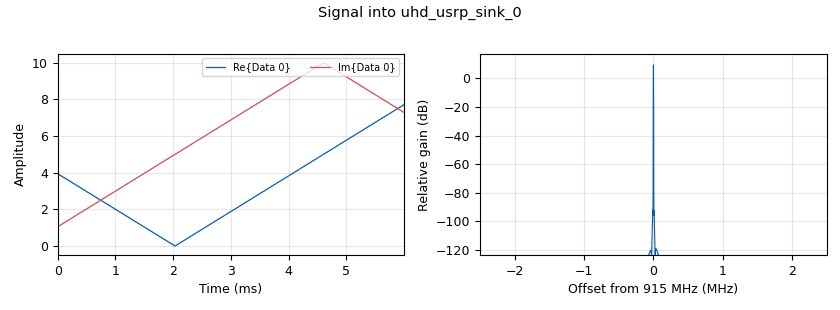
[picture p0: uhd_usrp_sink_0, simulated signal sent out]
options:
  parameters:
    generate_options: no_gui
    id: transmitter
    output_language: python
    title: Not titled yet
  states: {}

blocks:
- name: samp_rate
  id: variable
  parameters:
    value: '5000000'
  states: {}
- name: analog_sig_source_x_0
  id: analog_sig_source_x
  parameters:
    amp: '10'
    freq: '915000000'
    offset: '0'
    phase: '0'
    samp_rate: samp_rate
    type: complex
    waveform: analog.GR_TRI_WAVE
  states: {}
- name: uhd_usrp_sink_0
  id: uhd_usrp_sink
  parameters:
    ant0: '"TX/RX"'
    bw0: '1000000'
    center_freq0: '915000000'
    gain0: '40'
    samp_rate: samp_rate
    sync: none
    type: fc32
  states: {}

connections:
- [analog_sig_source_x_0, '0', uhd_usrp_sink_0, '0']

metadata:
  file_format: 1
  grc_version: 3.10.10.0
